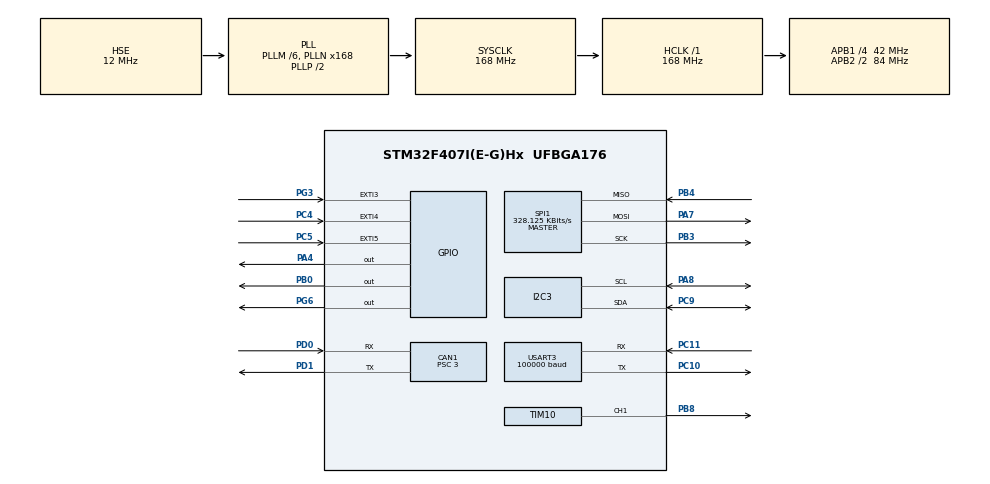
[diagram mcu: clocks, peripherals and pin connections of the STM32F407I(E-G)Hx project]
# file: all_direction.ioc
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CAN1.BS1=CAN_BS1_10TQ
CAN1.BS2=CAN_BS2_3TQ
CAN1.CalculateBaudRate=1000000
CAN1.CalculateTimeBit=1000
CAN1.CalculateTimeQuantum=71.42857142857143
CAN1.Prescaler=3
Dma.Request0=USART3_RX
Dma.Request1=SPI1_RX
Dma.Request2=SPI1_TX
Dma.SPI1_RX.1.Direction=DMA_PERIPH_TO_MEMORY
Dma.SPI1_RX.1.FIFOMode=DMA_FIFOMODE_DISABLE
Dma.SPI1_RX.1.Instance=DMA2_Stream2
Dma.SPI1_RX.1.MemDataAlignment=DMA_MDATAALIGN_BYTE
Dma.SPI1_RX.1.MemInc=DMA_MINC_ENABLE
Dma.SPI1_RX.1.Mode=DMA_NORMAL
Dma.SPI1_RX.1.PeriphDataAlignment=DMA_PDATAALIGN_BYTE
Dma.SPI1_RX.1.PeriphInc=DMA_PINC_DISABLE
Dma.SPI1_RX.1.Priority=DMA_PRIORITY_VERY_HIGH
Dma.SPI1_TX.2.Direction=DMA_MEMORY_TO_PERIPH
Dma.SPI1_TX.2.FIFOMode=DMA_FIFOMODE_DISABLE
Dma.SPI1_TX.2.Instance=DMA2_Stream3
Dma.SPI1_TX.2.MemDataAlignment=DMA_MDATAALIGN_BYTE
Dma.SPI1_TX.2.MemInc=DMA_MINC_ENABLE
Dma.SPI1_TX.2.Mode=DMA_NORMAL
Dma.SPI1_TX.2.PeriphDataAlignment=DMA_PDATAALIGN_BYTE
Dma.SPI1_TX.2.PeriphInc=DMA_PINC_DISABLE
Dma.SPI1_TX.2.Priority=DMA_PRIORITY_HIGH
Dma.USART3_RX.0.Direction=DMA_PERIPH_TO_MEMORY
Dma.USART3_RX.0.FIFOMode=DMA_FIFOMODE_DISABLE
Dma.USART3_RX.0.Instance=DMA1_Stream1
Dma.USART3_RX.0.MemDataAlignment=DMA_MDATAALIGN_BYTE
Dma.USART3_RX.0.MemInc=DMA_MINC_ENABLE
Dma.USART3_RX.0.Mode=DMA_CIRCULAR
Dma.USART3_RX.0.PeriphDataAlignment=DMA_PDATAALIGN_BYTE
Dma.USART3_RX.0.PeriphInc=DMA_PINC_DISABLE
Dma.USART3_RX.0.Priority=DMA_PRIORITY_VERY_HIGH
I2C3.I2C_Mode=I2C_Fast
Mcu.Family=STM32F4
Mcu.Name=STM32F407I(E-G)Hx
Mcu.Package=UFBGA176
NVIC.CAN1_RX0_IRQn=true\:0\:0\:false\:false\:true\:true\:true\:true
NVIC.CAN1_RX1_IRQn=true\:0\:0\:false\:false\:true\:true\:true\:true
NVIC.DMA1_Stream1_IRQn=true\:0\:0\:false\:false\:true\:false\:true\:true
NVIC.DMA2_Stream2_IRQn=true\:0\:0\:false\:false\:true\:false\:true\:true
NVIC.DMA2_Stream3_IRQn=true\:0\:0\:false\:false\:true\:false\:true\:true
NVIC.EXTI3_IRQn=true\:0\:0\:false\:false\:true\:true\:true\:true
NVIC.EXTI4_IRQn=true\:0\:0\:false\:false\:true\:true\:true\:true
NVIC.EXTI9_5_IRQn=true\:0\:0\:false\:false\:true\:true\:true\:true
NVIC.PriorityGroup=NVIC_PRIORITYGROUP_4
NVIC.USART3_IRQn=true\:0\:0\:false\:false\:true\:true\:true\:true
PA13.Mode=Serial_Wire
PA13.Signal=SYS_JTMS-SWDIO
PA14.Mode=Serial_Wire
PA14.Signal=SYS_JTCK-SWCLK
PA4.GPIO_PuPd=GPIO_PULLUP
PA4.GPIO_Speed=GPIO_SPEED_FREQ_HIGH
PA4.PinState=GPIO_PIN_SET
PA4.Signal=GPIO_Output
PA7.Mode=Full_Duplex_Master
PA7.Signal=SPI1_MOSI
PA8.GPIO_Pu=GPIO_PULLUP
PA8.Mode=I2C
PA8.Signal=I2C3_SCL
PB0.GPIO_ModeDefaultOutputPP=GPIO_MODE_OUTPUT_PP
PB0.GPIO_PuPd=GPIO_PULLUP
PB0.GPIO_Speed=GPIO_SPEED_FREQ_HIGH
PB0.PinState=GPIO_PIN_SET
PB0.Signal=GPIO_Output
PB3.Mode=Full_Duplex_Master
PB3.Signal=SPI1_SCK
PB4.Mode=Full_Duplex_Master
PB4.Signal=SPI1_MISO
PB8.Signal=S_TIM10_CH1
PC10.Mode=Asynchronous
PC10.Signal=USART3_TX
PC11.Mode=Asynchronous
PC11.Signal=USART3_RX
PC4.GPIO_ModeDefaultEXTI=GPIO_MODE_IT_FALLING
PC4.GPIO_PuPd=GPIO_PULLUP
PC4.Signal=GPXTI4
PC5.GPIO_ModeDefaultEXTI=GPIO_MODE_IT_FALLING
PC5.GPIO_PuPd=GPIO_PULLUP
PC5.Signal=GPXTI5
PC9.GPIO_Pu=GPIO_PULLUP
PC9.Mode=I2C
PC9.Signal=I2C3_SDA
PD0.Mode=CAN_Activate
PD0.Signal=CAN1_RX
PD1.Mode=CAN_Activate
PD1.Signal=CAN1_TX
PG3.GPIO_ModeDefaultEXTI=GPIO_MODE_IT_FALLING
PG3.GPIO_PuPd=GPIO_PULLUP
PG3.Signal=GPXTI3
PG6.GPIO_PuPd=GPIO_PULLUP
PG6.GPIO_Speed=GPIO_SPEED_FREQ_MEDIUM
PG6.PinState=GPIO_PIN_SET
PG6.Signal=GPIO_Output
PH0-OSC_IN.Mode=HSE-External-Oscillator
PH0-OSC_IN.Signal=RCC_OSC_IN
PH1-OSC_OUT.Mode=HSE-External-Oscillator
PH1-OSC_OUT.Signal=RCC_OSC_OUT
ProjectManager.HeapSize=0x200
ProjectManager.StackSize=0x400
ProjectManager.TargetToolchain=MDK-ARM V5.32
RCC.48MHZClocksFreq_Value=84000000
RCC.AHBFreq_Value=168000000
RCC.APB1CLKDivider=RCC_HCLK_DIV4
RCC.APB1Freq_Value=42000000
RCC.APB1TimFreq_Value=84000000
RCC.APB2CLKDivider=RCC_HCLK_DIV2
RCC.APB2Freq_Value=84000000
RCC.APB2TimFreq_Value=168000000
RCC.CortexFreq_Value=168000000
RCC.HCLKFreq_Value=168000000
RCC.HSE_VALUE=12000000
RCC.HSI_VALUE=16000000
RCC.LSE_VALUE=32768
RCC.PLLM=6
RCC.PLLN=168
RCC.PLLSourceVirtual=RCC_PLLSOURCE_HSE
RCC.SYSCLKFreq_VALUE=168000000
RCC.SYSCLKSource=RCC_SYSCLKSOURCE_PLLCLK
RCC.VCOOutputFreq_Value=336000000
SH.S_TIM10_CH1.0=TIM10_CH1,PWM Generation1 CH1
SPI1.BaudRatePrescaler=SPI_BAUDRATEPRESCALER_256
SPI1.CLKPhase=SPI_PHASE_2EDGE
SPI1.CLKPolarity=SPI_POLARITY_HIGH
SPI1.CalculateBaudRate=328.125 KBits/s
SPI1.Direction=SPI_DIRECTION_2LINES
SPI1.Mode=SPI_MODE_MASTER
SPI1.VirtualType=VM_MASTER
TIM10.Channel=TIM_CHANNEL_1
USART3.BaudRate=100000
USART3.Parity=PARITY_EVEN
USART3.VirtualMode=VM_ASYNC
VP_TIM10_VS_ClockSourceINT.Mode=Enable_Timer
board=custom

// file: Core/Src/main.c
/* USER CODE BEGIN Header */
/**
  ******************************************************************************
  * @file           : main.c
  * @brief          : Main program body
  ******************************************************************************
  * @attention
  *
  * Copyright (c) 2026 STMicroelectronics.
  * All rights reserved.
  *
  * This software is licensed under terms that can be found in the LICENSE file
  * in the root directory of this software component.
  * If no LICENSE file comes with this software, it is provided AS-IS.
  *
  ******************************************************************************
  */
/* USER CODE END Header */
#include "main.h"
#include "can.h"
#include "dma.h"
#include "i2c.h"
#include "spi.h"
#include "tim.h"
#include "usart.h"
#include "gpio.h"

/* USER CODE BEGIN Includes */
#include "bsp_can.h"
#include "CAN_receive.h"
#include "pid.h"
#include "struct_typedef.h"
#include "bsp_rc.h"
#include "remote_control.h"

/* 解耦后的模块 */
#include "../../function/ahrs.h"
#include "../../function/chassis_control.h"
#include "../../function/gimbal_control.h"
#include "../../function/pid_tuner.h"
/* USER CODE END Includes */

/* USER CODE BEGIN PTD */
#include "BMI088driver.h"
#include "ist8310driver.h"
/* USER CODE END PTD */

/* USER CODE BEGIN PM */
/* IMU 数据（前置声明，供中断回调使用） */
fp32 gyro[3], accel[3], temp;
fp32 mag[3];

/* IST8310 数据就绪中断回调 */
void HAL_GPIO_EXTI_Callback(uint16_t GPIO_Pin)
{
    if (GPIO_Pin == IST8310_DRDY_Pin)
    {
        ist8310_read_mag(mag);
    }
}
/* USER CODE END PM */

/* USER CODE BEGIN PV */
const RC_ctrl_t *RC_Ctl;

/* 解耦后的模块实例 */
ahrs_t       ahrs;
chassis_t    chassis;
gimbal_t     gimbal;
pid_tuner_t  tuner;
/* USER CODE END PV */

void SystemClock_Config(void);

int main(void)
{

  /* MCU Configuration--------------------------------------------------------*/

  /* Reset of all peripherals, Initializes the Flash interface and the Systick. */
  HAL_Init();

  /* Configure the system clock */
  SystemClock_Config();

  /* Initialize all configured peripherals */
  MX_GPIO_Init();
  MX_DMA_Init();
  MX_CAN1_Init();
  MX_USART3_UART_Init();
  MX_I2C3_Init();
  MX_SPI1_Init();
  MX_TIM10_Init();
  /* USER CODE BEGIN 2 */
  /* 遥控器初始化 */
  remote_control_init();
  RC_Ctl = get_remote_control_point();
  can_filter_init();

  /* IMU 初始化 */
  ist8310_init();
  while (BMI088_init()) { ; }

  /* 模块初始化 */
  AHRS_init(&ahrs);
  Chassis_init(&chassis);
  Gimbal_init(&gimbal);
  PID_Tuner_init(&tuner);
  /* USER CODE END 2 */

  /* Infinite loop */
  while (1)
  {

    /* USER CODE BEGIN 3 */
    /* 1. IMU 读取 + AHRS 姿态解算 */
    BMI088_read(gyro, accel, &temp);
    AHRS_update(&ahrs, gyro, accel, mag);

    /* 2. PID 调参器（拨杆控制：上=阶跃测试，下=继电测试，中=正常运行） */
    {
        tuner_state_e ts = PID_Tuner_update(&tuner, RC_Ctl,
                                             Chassis_get_motor_data(STEP_MOTOR_INDEX),
                                             Chassis_get_motor_pid(STEP_MOTOR_INDEX));

        if (ts == TUNER_STEP_RUNNING || ts == TUNER_RELAY_RUNNING || ts == TUNER_LOADED_RUNNING)
        {
            /* 调参模式：单独发送测试电机的 CAN 指令，其他电机不动 */
            int16_t out = (int16_t)Chassis_get_motor_pid(STEP_MOTOR_INDEX)->out;
            int16_t zeros[4] = {0, 0, 0, 0};
            zeros[STEP_MOTOR_INDEX] = out;
            CAN_cmd_chassis(zeros[0], zeros[1], zeros[2], zeros[3]);
        }
        else
        {
            /* 正常模式 */
            Chassis_control(&chassis, RC_Ctl, ahrs.angle[0]);
        }

        /* 测试完成时自动发送数据 */
        if (ts == TUNER_STEP_DONE || ts == TUNER_RELAY_DONE || ts == TUNER_LOADED_DONE)
        {
            PID_Tuner_send_data(&tuner);
        }
    }

    /* 3. 云台 Yaw 控制 */
    Gimbal_control(&gimbal, RC_Ctl, ahrs.angle[0]);

    HAL_Delay(1);
  }
  /* USER CODE END 3 */
}

void SystemClock_Config(void)
{
  RCC_OscInitTypeDef RCC_OscInitStruct = {0};
  RCC_ClkInitTypeDef RCC_ClkInitStruct = {0};

  /** Configure the main internal regulator voltage
  */
  __HAL_RCC_PWR_CLK_ENABLE();
  __HAL_PWR_VOLTAGESCALING_CONFIG(PWR_REGULATOR_VOLTAGE_SCALE1);

  /** Initializes the RCC Oscillators
  */
  RCC_OscInitStruct.OscillatorType = RCC_OSCILLATORTYPE_HSE;
  RCC_OscInitStruct.HSEState = RCC_HSE_ON;
  RCC_OscInitStruct.PLL.PLLState = RCC_PLL_ON;
  RCC_OscInitStruct.PLL.PLLSource = RCC_PLLSOURCE_HSE;
  RCC_OscInitStruct.PLL.PLLM = 6;
  RCC_OscInitStruct.PLL.PLLN = 168;
  RCC_OscInitStruct.PLL.PLLP = RCC_PLLP_DIV2;
  RCC_OscInitStruct.PLL.PLLQ = 4;
  if (HAL_RCC_OscConfig(&RCC_OscInitStruct) != HAL_OK)
  {
    Error_Handler();
  }

  /** Initializes the CPU, AHB and APB buses clocks
  */
  RCC_ClkInitStruct.ClockType = RCC_CLOCKTYPE_HCLK|RCC_CLOCKTYPE_SYSCLK
                              |RCC_CLOCKTYPE_PCLK1|RCC_CLOCKTYPE_PCLK2;
  RCC_ClkInitStruct.SYSCLKSource = RCC_SYSCLKSOURCE_PLLCLK;
  RCC_ClkInitStruct.AHBCLKDivider = RCC_SYSCLK_DIV1;
  RCC_ClkInitStruct.APB1CLKDivider = RCC_HCLK_DIV4;
  RCC_ClkInitStruct.APB2CLKDivider = RCC_HCLK_DIV2;

  if (HAL_RCC_ClockConfig(&RCC_ClkInitStruct, FLASH_LATENCY_5) != HAL_OK)
  {
    Error_Handler();
  }
}

void Error_Handler(void)
{
  __disable_irq();
  while (1)
  {
  }
}
